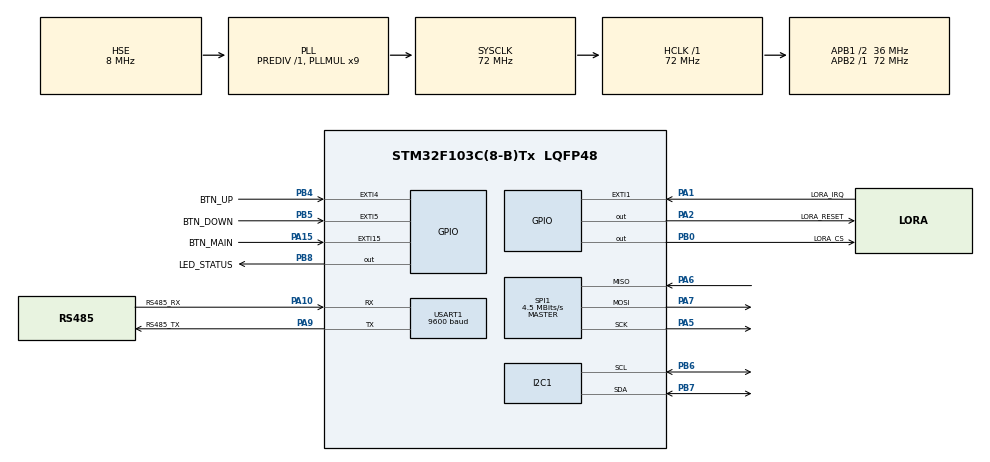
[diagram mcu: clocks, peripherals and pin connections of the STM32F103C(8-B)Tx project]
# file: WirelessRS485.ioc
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Dma.I2C1_TX.2.Direction=DMA_MEMORY_TO_PERIPH
Dma.I2C1_TX.2.Instance=DMA1_Channel6
Dma.I2C1_TX.2.MemDataAlignment=DMA_MDATAALIGN_BYTE
Dma.I2C1_TX.2.MemInc=DMA_MINC_ENABLE
Dma.I2C1_TX.2.Mode=DMA_NORMAL
Dma.I2C1_TX.2.PeriphDataAlignment=DMA_PDATAALIGN_BYTE
Dma.I2C1_TX.2.PeriphInc=DMA_PINC_DISABLE
Dma.I2C1_TX.2.Priority=DMA_PRIORITY_LOW
Dma.Request0=USART1_RX
Dma.Request1=USART1_TX
Dma.Request2=I2C1_TX
Dma.Request3=SPI1_RX
Dma.Request4=SPI1_TX
Dma.SPI1_RX.3.Direction=DMA_PERIPH_TO_MEMORY
Dma.SPI1_RX.3.Instance=DMA1_Channel2
Dma.SPI1_RX.3.MemDataAlignment=DMA_MDATAALIGN_BYTE
Dma.SPI1_RX.3.MemInc=DMA_MINC_ENABLE
Dma.SPI1_RX.3.Mode=DMA_NORMAL
Dma.SPI1_RX.3.PeriphDataAlignment=DMA_PDATAALIGN_BYTE
Dma.SPI1_RX.3.PeriphInc=DMA_PINC_DISABLE
Dma.SPI1_RX.3.Priority=DMA_PRIORITY_LOW
Dma.SPI1_TX.4.Direction=DMA_MEMORY_TO_PERIPH
Dma.SPI1_TX.4.Instance=DMA1_Channel3
Dma.SPI1_TX.4.MemDataAlignment=DMA_MDATAALIGN_BYTE
Dma.SPI1_TX.4.MemInc=DMA_MINC_ENABLE
Dma.SPI1_TX.4.Mode=DMA_NORMAL
Dma.SPI1_TX.4.PeriphDataAlignment=DMA_PDATAALIGN_BYTE
Dma.SPI1_TX.4.PeriphInc=DMA_PINC_DISABLE
Dma.SPI1_TX.4.Priority=DMA_PRIORITY_LOW
Dma.USART1_RX.0.Direction=DMA_PERIPH_TO_MEMORY
Dma.USART1_RX.0.Instance=DMA1_Channel5
Dma.USART1_RX.0.MemDataAlignment=DMA_MDATAALIGN_BYTE
Dma.USART1_RX.0.MemInc=DMA_MINC_ENABLE
Dma.USART1_RX.0.Mode=DMA_NORMAL
Dma.USART1_RX.0.PeriphDataAlignment=DMA_PDATAALIGN_BYTE
Dma.USART1_RX.0.PeriphInc=DMA_PINC_DISABLE
Dma.USART1_RX.0.Priority=DMA_PRIORITY_HIGH
Dma.USART1_TX.1.Direction=DMA_MEMORY_TO_PERIPH
Dma.USART1_TX.1.Instance=DMA1_Channel4
Dma.USART1_TX.1.MemDataAlignment=DMA_MDATAALIGN_BYTE
Dma.USART1_TX.1.MemInc=DMA_MINC_ENABLE
Dma.USART1_TX.1.Mode=DMA_NORMAL
Dma.USART1_TX.1.PeriphDataAlignment=DMA_PDATAALIGN_BYTE
Dma.USART1_TX.1.PeriphInc=DMA_PINC_DISABLE
Dma.USART1_TX.1.Priority=DMA_PRIORITY_LOW
FREERTOS.Tasks01=defaultTask,12,169,StartDefaultTask,Default,NULL,Dynamic,NULL,NULL
FREERTOS.configGENERATE_RUN_TIME_STATS=1
FREERTOS.configMINIMAL_STACK_SIZE=64
FREERTOS.configTOTAL_HEAP_SIZE=8192
FREERTOS.configUSE_NEWLIB_REENTRANT=1
FREERTOS.configUSE_STATS_FORMATTING_FUNCTIONS=1
I2C1.I2C_Mode=I2C_Fast
Mcu.Family=STM32F1
Mcu.Name=STM32F103C(8-B)Tx
Mcu.Package=LQFP48
NVIC.DMA1_Channel2_IRQn=true\:5\:0\:false\:false\:true\:true\:false\:true\:true
NVIC.DMA1_Channel3_IRQn=true\:5\:0\:false\:false\:true\:true\:false\:true\:true
NVIC.DMA1_Channel4_IRQn=true\:5\:0\:false\:false\:true\:true\:false\:true\:true
NVIC.DMA1_Channel5_IRQn=true\:5\:0\:false\:false\:true\:true\:false\:true\:true
NVIC.DMA1_Channel6_IRQn=true\:5\:0\:false\:false\:true\:true\:false\:true\:true
NVIC.EXTI15_10_IRQn=true\:5\:0\:false\:false\:true\:true\:true\:true\:true
NVIC.EXTI1_IRQn=true\:5\:0\:false\:false\:true\:true\:true\:true\:true
NVIC.EXTI4_IRQn=true\:5\:0\:false\:false\:true\:true\:true\:true\:true
NVIC.EXTI9_5_IRQn=true\:5\:0\:false\:false\:true\:true\:true\:true\:true
NVIC.I2C1_ER_IRQn=true\:5\:0\:false\:false\:true\:true\:true\:true\:true
NVIC.I2C1_EV_IRQn=true\:5\:0\:false\:false\:true\:true\:true\:true\:true
NVIC.PriorityGroup=NVIC_PRIORITYGROUP_4
NVIC.TIM1_UP_IRQn=true\:5\:0\:false\:false\:true\:true\:true\:true\:true
NVIC.TIM4_IRQn=true\:15\:0\:false\:false\:true\:false\:false\:true\:true
NVIC.TimeBase=TIM4_IRQn
NVIC.TimeBaseIP=TIM4
NVIC.USART1_IRQn=true\:5\:0\:false\:false\:true\:true\:true\:true\:true
PA1.GPIO_Label=LORA_IRQ
PA1.GPIO_ModeDefaultEXTI=GPIO_MODE_IT_RISING
PA1.GPIO_PuPd=GPIO_PULLDOWN
PA1.Signal=GPXTI1
PA10.GPIO_Label=RS485_RX
PA10.Mode=Asynchronous
PA10.Signal=USART1_RX
PA13.Mode=Serial_Wire
PA13.Signal=SYS_JTMS-SWDIO
PA14.Mode=Serial_Wire
PA14.Signal=SYS_JTCK-SWCLK
PA15.GPIO_Label=BTN_MAIN
PA15.GPIO_ModeDefaultEXTI=GPIO_MODE_IT_FALLING
PA15.GPIO_PuPd=GPIO_PULLUP
PA15.Signal=GPXTI15
PA2.GPIO_Label=LORA_RESET
PA2.GPIO_PuPd=GPIO_PULLUP
PA2.GPIO_Speed=GPIO_SPEED_FREQ_LOW
PA2.PinState=GPIO_PIN_SET
PA2.Signal=GPIO_Output
PA5.Mode=Full_Duplex_Master
PA5.Signal=SPI1_SCK
PA6.Mode=Full_Duplex_Master
PA6.Signal=SPI1_MISO
PA7.Mode=Full_Duplex_Master
PA7.Signal=SPI1_MOSI
PA9.GPIO_Label=RS485_TX
PA9.Mode=Asynchronous
PA9.Signal=USART1_TX
PB0.GPIO_Label=LORA_CS
PB0.GPIO_PuPd=GPIO_PULLUP
PB0.GPIO_Speed=GPIO_SPEED_FREQ_HIGH
PB0.PinState=GPIO_PIN_SET
PB0.Signal=GPIO_Output
PB4.GPIO_Label=BTN_UP
PB4.GPIO_ModeDefaultEXTI=GPIO_MODE_IT_FALLING
PB4.GPIO_PuPd=GPIO_PULLUP
PB4.Signal=GPXTI4
PB5.GPIO_Label=BTN_DOWN
PB5.GPIO_ModeDefaultEXTI=GPIO_MODE_IT_FALLING
PB5.GPIO_PuPd=GPIO_PULLUP
PB5.Signal=GPXTI5
PB6.Mode=I2C
PB6.Signal=I2C1_SCL
PB7.Mode=I2C
PB7.Signal=I2C1_SDA
PB8.GPIO_Label=LED_STATUS
PB8.GPIO_PuPd=GPIO_PULLUP
PB8.PinState=GPIO_PIN_SET
PB8.Signal=GPIO_Output
PD0-OSC_IN.Mode=HSE-External-Oscillator
PD0-OSC_IN.Signal=RCC_OSC_IN
PD1-OSC_OUT.Mode=HSE-External-Oscillator
PD1-OSC_OUT.Signal=RCC_OSC_OUT
ProjectManager.HeapSize=0x200
ProjectManager.StackSize=0x400
ProjectManager.TargetToolchain=STM32CubeIDE
RCC.ADCPresc=RCC_ADCPCLK2_DIV6
RCC.AHBFreq_Value=72000000
RCC.APB1CLKDivider=RCC_HCLK_DIV2
RCC.APB1Freq_Value=36000000
RCC.APB1TimFreq_Value=72000000
RCC.APB2Freq_Value=72000000
RCC.APB2TimFreq_Value=72000000
RCC.HCLKFreq_Value=72000000
RCC.PLLMUL=RCC_PLL_MUL9
RCC.PLLSourceVirtual=RCC_PLLSOURCE_HSE
RCC.SYSCLKFreq_VALUE=72000000
RCC.SYSCLKSource=RCC_SYSCLKSOURCE_PLLCLK
RCC.USBFreq_Value=72000000
SPI1.BaudRatePrescaler=SPI_BAUDRATEPRESCALER_16
SPI1.CalculateBaudRate=4.5 MBits/s
SPI1.Direction=SPI_DIRECTION_2LINES
SPI1.Mode=SPI_MODE_MASTER
SPI1.VirtualType=VM_MASTER
TIM1.Period=3
TIM1.Prescaler=1000
USART1.BaudRate=9600
USART1.VirtualMode=VM_ASYNC
VP_FREERTOS_VS_CMSIS_V2.Mode=CMSIS_V2
VP_SYS_VS_tim4.Mode=TIM4
VP_TIM1_VS_ClockSourceINT.Mode=Internal
board=custom

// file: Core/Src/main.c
/* USER CODE BEGIN Header */
/**
  ******************************************************************************
  * @file           : main.c
  * @brief          : Main program body
  ******************************************************************************
  * @attention
  *
  * Copyright (c) 2026 STMicroelectronics.
  * All rights reserved.
  *
  * This software is licensed under terms that can be found in the LICENSE file
  * in the root directory of this software component.
  * If no LICENSE file comes with this software, it is provided AS-IS.
  *
  ******************************************************************************
  */
/* USER CODE END Header */
#include "main.h"
#include "cmsis_os.h"
#include "dma.h"
#include "i2c.h"
#include "spi.h"
#include "tim.h"
#include "usart.h"
#include "gpio.h"

void SystemClock_Config(void);
void MX_FREERTOS_Init(void);

int main(void)
{

  /* MCU Configuration--------------------------------------------------------*/

  /* Reset of all peripherals, Initializes the Flash interface and the Systick. */
  HAL_Init();

  /* Configure the system clock */
  SystemClock_Config();

  /* Initialize all configured peripherals */
  MX_GPIO_Init();
  MX_DMA_Init();
  MX_USART1_UART_Init();
  MX_I2C1_Init();
  MX_TIM1_Init();
  MX_SPI1_Init();

  /* Init scheduler */
  osKernelInitialize();  /* Call init function for freertos objects (in cmsis_os2.c) */
  MX_FREERTOS_Init();

  /* Start scheduler */
  osKernelStart();

  /* We should never get here as control is now taken by the scheduler */

  /* Infinite loop */
  while (1)
  {

  }
}

void SystemClock_Config(void)
{
  RCC_OscInitTypeDef RCC_OscInitStruct = {0};
  RCC_ClkInitTypeDef RCC_ClkInitStruct = {0};

  /** Initializes the RCC Oscillators according to the specified parameters
  * in the RCC_OscInitTypeDef structure.
  */
  RCC_OscInitStruct.OscillatorType = RCC_OSCILLATORTYPE_HSE;
  RCC_OscInitStruct.HSEState = RCC_HSE_ON;
  RCC_OscInitStruct.HSEPredivValue = RCC_HSE_PREDIV_DIV1;
  RCC_OscInitStruct.HSIState = RCC_HSI_ON;
  RCC_OscInitStruct.PLL.PLLState = RCC_PLL_ON;
  RCC_OscInitStruct.PLL.PLLSource = RCC_PLLSOURCE_HSE;
  RCC_OscInitStruct.PLL.PLLMUL = RCC_PLL_MUL9;
  if (HAL_RCC_OscConfig(&RCC_OscInitStruct) != HAL_OK)
  {
    Error_Handler();
  }

  /** Initializes the CPU, AHB and APB buses clocks
  */
  RCC_ClkInitStruct.ClockType = RCC_CLOCKTYPE_HCLK|RCC_CLOCKTYPE_SYSCLK
                              |RCC_CLOCKTYPE_PCLK1|RCC_CLOCKTYPE_PCLK2;
  RCC_ClkInitStruct.SYSCLKSource = RCC_SYSCLKSOURCE_PLLCLK;
  RCC_ClkInitStruct.AHBCLKDivider = RCC_SYSCLK_DIV1;
  RCC_ClkInitStruct.APB1CLKDivider = RCC_HCLK_DIV2;
  RCC_ClkInitStruct.APB2CLKDivider = RCC_HCLK_DIV1;

  if (HAL_RCC_ClockConfig(&RCC_ClkInitStruct, FLASH_LATENCY_2) != HAL_OK)
  {
    Error_Handler();
  }
}

/* USER CODE BEGIN 4 */
#if SHOW_RUNTIME_STATS
static uint32_t high_res_tick = 0;
void configureTimerForRunTimeStats(void)
{
  HAL_TIM_Base_Start_IT(&htim1);
}

unsigned long getRunTimeCounterValue(void)
{
  //return __HAL_TIM_GET_COUNTER(&htim1);
  //return (high_res_tick << 16) | __HAL_TIM_GET_COUNTER(&htim1);
  return high_res_tick;
}
#endif
/* USER CODE END 4 */

void HAL_TIM_PeriodElapsedCallback(TIM_HandleTypeDef *htim)
{
  /* USER CODE BEGIN Callback 0 */
#if SHOW_RUNTIME_STATS
    if (htim->Instance == TIM1) {
        high_res_tick++;
    }
#endif
  /* USER CODE END Callback 0 */
  if (htim->Instance == TIM4)
  {
    HAL_IncTick();
  }
}

void Error_Handler(void)
{
  __disable_irq();
  while (1)
  {
  }
}

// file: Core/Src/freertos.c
/* USER CODE BEGIN Header */
/**
  ******************************************************************************
  * File Name          : freertos.c
  * Description        : Code for freertos applications
  ******************************************************************************
  * @attention
  *
  * Copyright (c) 2026 STMicroelectronics.
  * All rights reserved.
  *
  * This software is licensed under terms that can be found in the LICENSE file
  * in the root directory of this software component.
  * If no LICENSE file comes with this software, it is provided AS-IS.
  *
  ******************************************************************************
  */
/* USER CODE END Header */

#include "FreeRTOS.h"
#include "task.h"
#include "main.h"
#include "cmsis_os.h"

/* USER CODE BEGIN Includes */
#include "tim.h"
/* USER CODE END Includes */

/* USER CODE BEGIN Variables */
osSemaphoreId_t i2cTxDmaSemaphore;
osSemaphoreId_t viewUpdateSemaphore;

osSemaphoreId_t loraDmaSemaphore;
osSemaphoreId_t loraIrqSemaphore;

osSemaphoreId_t uartTxDmaSemaphore;
osSemaphoreId_t uartRxDmaSemaphore;

osMutexId_t systemSettingsMutex;

osThreadId_t loraTaskHandle;
const osThreadAttr_t loraTask_attributes = {
  .name = "loraTask",
  .stack_size = 224 * 4 + 28 * 4 * CURRENT_LOG_LEVEL,
  .priority = (osPriority_t) osPriorityNormal,
};

osThreadId_t uartTaskHandle;
const osThreadAttr_t uartTask_attributes = {
  .name = "uartTask",
  .stack_size = 128 * 4 + 24 * 4 * CURRENT_LOG_LEVEL,
  .priority = (osPriority_t) osPriorityNormal,
};

osThreadId_t uiTaskHandle;
const osThreadAttr_t uiTask_attributes = {
  .name = "uiTask",
  //.stack_size = 736 * 4,
  .stack_size = 736 * 4,
  .priority = (osPriority_t) osPriorityNormal,
};

#if SHOW_RUNTIME_STATS
/* USER CODE END Variables */
/* Definitions for defaultTask */
osThreadId_t defaultTaskHandle;
const osThreadAttr_t defaultTask_attributes = {
  .name = "defaultTask",
  .stack_size = 169 * 4,
  .priority = (osPriority_t) osPriorityLow4,
};

/* USER CODE BEGIN FunctionPrototypes */
#endif
extern void startMainTask(void* argument);
extern void startLoraTask(void* argument);
extern void startUartTask(void*argument);
extern void startUITask(void*argument);
/* USER CODE END FunctionPrototypes */

void StartDefaultTask(void *argument);

void MX_FREERTOS_Init(void); /* (MISRA C 2004 rule 8.1) */

/* Hook prototypes */
void configureTimerForRunTimeStats(void);
unsigned long getRunTimeCounterValue(void);

/* USER CODE BEGIN 1 */
/* Functions needed when configGENERATE_RUN_TIME_STATS is on */
__weak void configureTimerForRunTimeStats(void)
{

}

__weak unsigned long getRunTimeCounterValue(void)
{
  return 0;
}
/* USER CODE END 1 */

void MX_FREERTOS_Init(void) {

  /* USER CODE BEGIN RTOS_MUTEX */
  systemSettingsMutex = osMutexNew(NULL);
  /* USER CODE END RTOS_MUTEX */

  /* USER CODE BEGIN RTOS_SEMAPHORES */
  i2cTxDmaSemaphore = osSemaphoreNew(1, 0, NULL);
  viewUpdateSemaphore = osSemaphoreNew(1, 0, NULL);
  loraDmaSemaphore = osSemaphoreNew(1, 0, NULL);
  loraIrqSemaphore = osSemaphoreNew(1, 0, NULL);

  uartTxDmaSemaphore = osSemaphoreNew(1, 0, NULL);
  uartRxDmaSemaphore = osSemaphoreNew(1, 0, NULL);
  /* USER CODE END RTOS_SEMAPHORES */

  /* USER CODE BEGIN RTOS_QUEUES */
  /* add queues, ... */
  #if SHOW_RUNTIME_STATS
  /* USER CODE END RTOS_QUEUES */

  /* Create the thread(s) */
  /* creation of defaultTask */
  defaultTaskHandle = osThreadNew(StartDefaultTask, NULL, &defaultTask_attributes);

  /* USER CODE BEGIN RTOS_THREADS */
  #endif
  loraTaskHandle = osThreadNew(startLoraTask, NULL, &loraTask_attributes);
  uartTaskHandle = osThreadNew(startUartTask, NULL, &uartTask_attributes);
  uiTaskHandle = osThreadNew(startUITask, NULL, &uiTask_attributes);
  /* USER CODE END RTOS_THREADS */

}

void StartDefaultTask(void *argument)
{
  /* USER CODE BEGIN StartDefaultTask */
  /* Infinite loop */
  startMainTask(argument);
  /* USER CODE END StartDefaultTask */
}
